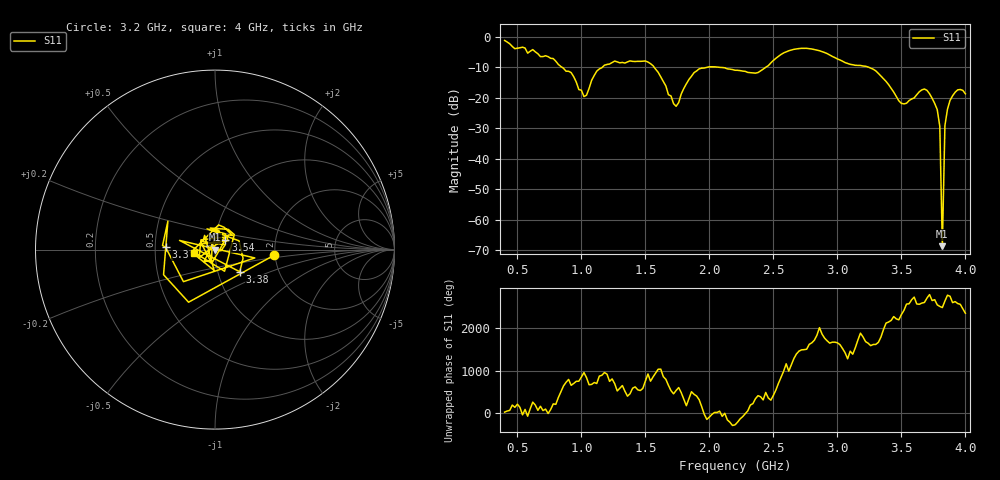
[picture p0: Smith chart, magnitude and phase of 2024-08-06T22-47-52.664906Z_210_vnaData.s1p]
!Created with skrf (http://scikit-rf.org).
# Hz S RI R 50.0
!freq ReS11 ImS11
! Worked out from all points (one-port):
!   181 points, 400 MHz to 4 GHz, reference 50 ohm
!   lowest |S11| = -68.7 dB at 3.82 GHz (marker M1), VSWR 1.00, Z = 50 - j0.0228 ohm
!   |S11| at or under -10 dB: 1.568 GHz to 1.985 GHz (416.6 MHz wide, 23.4 % of centre); 2.071 GHz to 2.441 GHz (369.8 MHz wide, 16.4 % of centre); 3.244 GHz to end of sweep (the widest 3 of 4)
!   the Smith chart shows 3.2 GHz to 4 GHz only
!   S11 on the Smith chart (normalised r, x): 3.2 GHz: 1.98, -0.14; 3.3 GHz: 0.57, +0.02; 3.38 GHz: 1.27, -0.33; 3.54 GHz: 1.12, +0.13; 4 GHz: 0.79, -0.03
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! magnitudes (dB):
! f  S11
! 400 MHz  -1.2
! 860 MHz  -10.4
! 920 MHz  -11.8
! 1.02 GHz  -19.6
! 1.12 GHz  -11.3
! 1.3 GHz  -8.6
! 1.54 GHz  -8.8
! 1.72 GHz  -21.9
! 1.76 GHz  -21.6
! 1.84 GHz  -14.0
! 1.92 GHz  -10.5
! 2.2 GHz  -11.0
! 2.38 GHz  -11.7
! 2.66 GHz  -4.1
! 3.1 GHz  -9.1
! 3.2 GHz  -9.6
! 3.3 GHz  -11.2
! 3.38 GHz  -14.7
! 3.54 GHz  -21.8
! 3.56 GHz  -20.9
! 3.68 GHz  -17.2
! 3.78 GHz  -23.9
! 3.8 GHz  -29.4
! 3.82 GHz  -68.7
! 3.84 GHz  -29.2
! 3.86 GHz  -23.8
! 3.9 GHz  -19.4
! 4 GHz  -18.7
